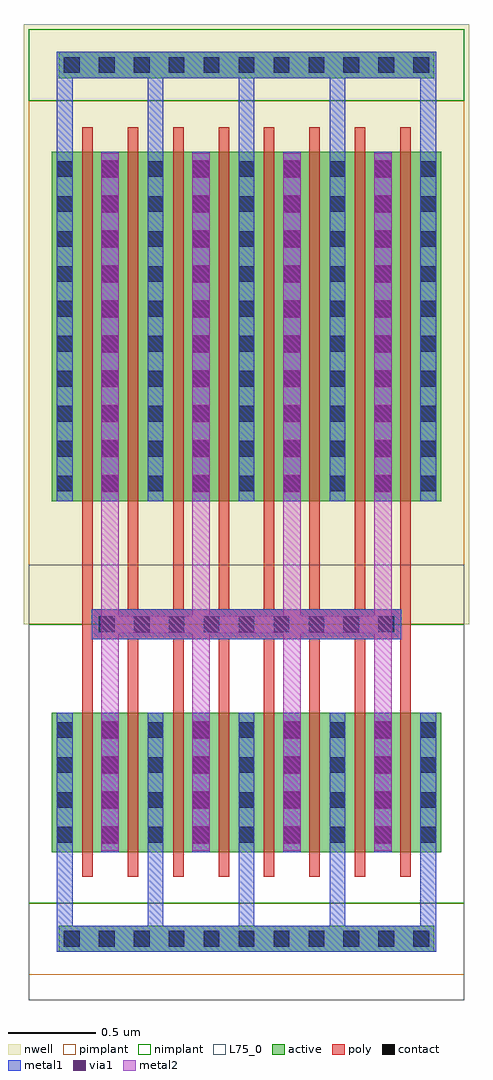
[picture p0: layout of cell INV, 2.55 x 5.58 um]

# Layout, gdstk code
import gdstk
lib = gdstk.Library(unit=1e-6, precision=1e-09)
def R(c, l, rs):  # rectangles x0, y0, x1, y1
    for r in rs: c.add(gdstk.rectangle(r[:2], r[2:], *l))
def A(c, l, x, y, w, h, nx, ny, dx, dy):  # array of equal rectangles
    R(c, l, [(x+i*dx, y+j*dy, x+i*dx+w, y+j*dy+h) for i in range(nx) for j in range(ny)])
nwell = (3, 0)
active = (6, 0)
poly = (17, 0)
pimplant = (25, 0)
nimplant = (26, 0)
contact = (30, 0)
metal1 = (31, 0)
metal2 = (32, 0)
via1 = (51, 0)
L75_0 = (75, 0)

pmosininv = lib.new_cell('PMOSInINV')
R(pmosininv, active, [(-1.115,-1,1.115,1)])
A(pmosininv, poly, -0.94, -1.14, 0.06, 2.28, 8, 1, 0.26, 0)
R(pmosininv, pimplant, [(-1.245,-1.29,1.245,1.29)])
A(pmosininv, contact, -1.085, -0.945, 0.09, 0.09, 9, 10, 0.26, 0.2)
A(pmosininv, metal1, -1.085, -1, 0.09, 2, 9, 1, 0.26, 0)

nmosininv = lib.new_cell('NMOSInINV')
R(nmosininv, active, [(-1.115,-0.4,1.115,0.4)])
A(nmosininv, poly, -0.94, -0.54, 0.06, 1.08, 8, 1, 0.26, 0)
R(nmosininv, nimplant, [(-1.245,-0.69,1.245,0.69)])
A(nmosininv, contact, -1.085, -0.345, 0.09, 0.09, 9, 4, 0.26, 0.2)
A(nmosininv, metal1, -1.085, -0.4, 0.09, 0.8, 9, 1, 0.26, 0)
R(nmosininv, L75_0, [(-1.245,-1.245,1.245,1.245)])

m2_m1_cdns_572756112770 = lib.new_cell('M2_M1_CDNS_572756112770')
R(m2_m1_cdns_572756112770, metal1, [(-0.05,-0.39,0.05,0.39)])
R(m2_m1_cdns_572756112770, metal2, [(-0.05,-0.39,0.05,0.39)])
A(m2_m1_cdns_572756112770, via1, -0.05, -0.35, 0.1, 0.1, 1, 4, 0, 0.2)

m1_nod_cdns_572756112771 = lib.new_cell('M1_NOD_CDNS_572756112771')
R(m1_nod_cdns_572756112771, active, [(-1.075,-0.075,1.075,0.075)])
R(m1_nod_cdns_572756112771, nimplant, [(-1.205,-0.205,1.205,0.205)])
A(m1_nod_cdns_572756112771, contact, -1.045, -0.045, 0.09, 0.09, 11, 1, 0.2, 0)
R(m1_nod_cdns_572756112771, metal1, [(-1.075,-0.075,1.075,0.075)])

m2_m1_cdns_572756112772 = lib.new_cell('M2_M1_CDNS_572756112772')
R(m2_m1_cdns_572756112772, metal1, [(-0.05,-0.99,0.05,0.99)])
R(m2_m1_cdns_572756112772, metal2, [(-0.05,-0.99,0.05,0.99)])
A(m2_m1_cdns_572756112772, via1, -0.05, -0.95, 0.1, 0.1, 1, 10, 0, 0.2)

m1_po_cdns_572756112773 = lib.new_cell('M1_PO_CDNS_572756112773')
R(m1_po_cdns_572756112773, poly, [(-0.885,-0.085,0.885,0.085)])
A(m1_po_cdns_572756112773, contact, -0.845, -0.045, 0.09, 0.09, 9, 1, 0.2, 0)
R(m1_po_cdns_572756112773, metal1, [(-0.885,-0.085,0.885,0.085)])

m1_pod_cdns_572756112774 = lib.new_cell('M1_POD_CDNS_572756112774')
R(m1_pod_cdns_572756112774, active, [(-1.075,-0.075,1.075,0.075)])
R(m1_pod_cdns_572756112774, pimplant, [(-1.205,-0.205,1.205,0.205)])
A(m1_pod_cdns_572756112774, contact, -1.045, -0.045, 0.09, 0.09, 11, 1, 0.2, 0)
R(m1_pod_cdns_572756112774, metal1, [(-1.075,-0.075,1.075,0.075)])

inv = lib.new_cell('INV')
R(inv, nwell, [(2,3.74,4.55,7.175)])
R(inv, poly, [(2.365,3.655,4.185,3.825)])
R(inv, pimplant, [(2.03,1.735,4.52,2.145), (2.03,3.74,4.52,6.735)])
R(inv, nimplant, [(2.03,2.145,4.52,3.74), (2.03,6.735,4.52,7.145)])
A(inv, metal1, 2.445, 2.435, 0.1, 0.8, 4, 1, 0.52, 0)
A(inv, metal1, 2.445, 4.445, 0.1, 2, 4, 1, 0.52, 0)
inv.add(gdstk.FlexPath([(4.315,5.445),(4.315,7.015)], 0.09, ends="flush", simple_path=True, layer=31, datatype=0))  # metal1
inv.add(gdstk.FlexPath([(3.795,5.445),(3.795,7.015)], 0.09, ends="flush", simple_path=True, layer=31, datatype=0))  # metal1
inv.add(gdstk.FlexPath([(3.275,5.445),(3.275,7.015)], 0.09, ends="flush", simple_path=True, layer=31, datatype=0))  # metal1
inv.add(gdstk.FlexPath([(2.755,5.445),(2.755,7.015)], 0.09, ends="flush", simple_path=True, layer=31, datatype=0))  # metal1
inv.add(gdstk.FlexPath([(2.235,5.445),(2.235,7.015)], 0.09, ends="flush", simple_path=True, layer=31, datatype=0))  # metal1
inv.add(gdstk.FlexPath([(4.315,2.835),(4.315,1.865)], 0.09, ends="flush", simple_path=True, layer=31, datatype=0))  # metal1
inv.add(gdstk.FlexPath([(3.795,2.835),(3.795,1.865)], 0.09, ends="flush", simple_path=True, layer=31, datatype=0))  # metal1
inv.add(gdstk.FlexPath([(3.275,2.835),(3.275,1.865)], 0.09, ends="flush", simple_path=True, layer=31, datatype=0))  # metal1
inv.add(gdstk.FlexPath([(2.755,2.835),(2.755,1.865)], 0.09, ends="flush", simple_path=True, layer=31, datatype=0))  # metal1
inv.add(gdstk.FlexPath([(2.235,2.835),(2.235,1.865)], 0.09, ends="flush", simple_path=True, layer=31, datatype=0))  # metal1
inv.add(gdstk.FlexPath([(4.055,5.445),(4.055,2.835)], 0.1, ends="flush", simple_path=True, layer=32, datatype=0))  # metal2
inv.add(gdstk.FlexPath([(3.535,5.445),(3.535,2.835)], 0.1, ends="flush", simple_path=True, layer=32, datatype=0))  # metal2
inv.add(gdstk.FlexPath([(3.015,5.445),(3.015,2.835)], 0.1, ends="flush", simple_path=True, layer=32, datatype=0))  # metal2
inv.add(gdstk.FlexPath([(2.495,5.445),(2.495,2.835)], 0.1, ends="flush", simple_path=True, layer=32, datatype=0))  # metal2
inv.add(gdstk.FlexPath([(2.495,3.74),(4.055,3.74)], 0.1, ends="flush", simple_path=True, layer=32, datatype=0))  # metal2
inv.add(gdstk.FlexPath([(4.185,2.835),(4.185,5.445)], 0.06, ends="flush", simple_path=True, layer=17, datatype=0))  # poly
inv.add(gdstk.FlexPath([(3.925,2.835),(3.925,5.445)], 0.06, ends="flush", simple_path=True, layer=17, datatype=0))  # poly
inv.add(gdstk.FlexPath([(3.665,2.835),(3.665,5.445)], 0.06, ends="flush", simple_path=True, layer=17, datatype=0))  # poly
inv.add(gdstk.FlexPath([(3.405,2.835),(3.405,5.445)], 0.06, ends="flush", simple_path=True, layer=17, datatype=0))  # poly
inv.add(gdstk.FlexPath([(3.145,2.835),(3.145,5.445)], 0.06, ends="flush", simple_path=True, layer=17, datatype=0))  # poly
inv.add(gdstk.FlexPath([(2.885,2.835),(2.885,5.445)], 0.06, ends="flush", simple_path=True, layer=17, datatype=0))  # poly
inv.add(gdstk.FlexPath([(2.625,2.835),(2.625,5.445)], 0.06, ends="flush", simple_path=True, layer=17, datatype=0))  # poly
inv.add(gdstk.FlexPath([(2.365,2.835),(2.365,5.445)], 0.06, ends="flush", simple_path=True, layer=17, datatype=0))  # poly
inv.add(gdstk.Reference(pmosininv, (3.275,5.445)))
inv.add(gdstk.Reference(nmosininv, (3.275,2.835)))
inv.add(gdstk.Reference(m2_m1_cdns_572756112770, (4.055,2.835)))
inv.add(gdstk.Reference(m2_m1_cdns_572756112770, (3.535,2.835)))
inv.add(gdstk.Reference(m2_m1_cdns_572756112770, (3.015,2.835)))
inv.add(gdstk.Reference(m2_m1_cdns_572756112770, (2.495,2.835)))
inv.add(gdstk.Reference(m1_nod_cdns_572756112771, (3.275,6.94)))
inv.add(gdstk.Reference(m2_m1_cdns_572756112772, (4.055,5.445)))
inv.add(gdstk.Reference(m2_m1_cdns_572756112772, (3.535,5.445)))
inv.add(gdstk.Reference(m2_m1_cdns_572756112772, (3.015,5.445)))
inv.add(gdstk.Reference(m2_m1_cdns_572756112772, (2.495,5.445)))
inv.add(gdstk.Reference(m1_po_cdns_572756112773, (3.275,3.74)))
inv.add(gdstk.Reference(m1_pod_cdns_572756112774, (3.275,1.94)))

lib.write_gds('INV.gds')
